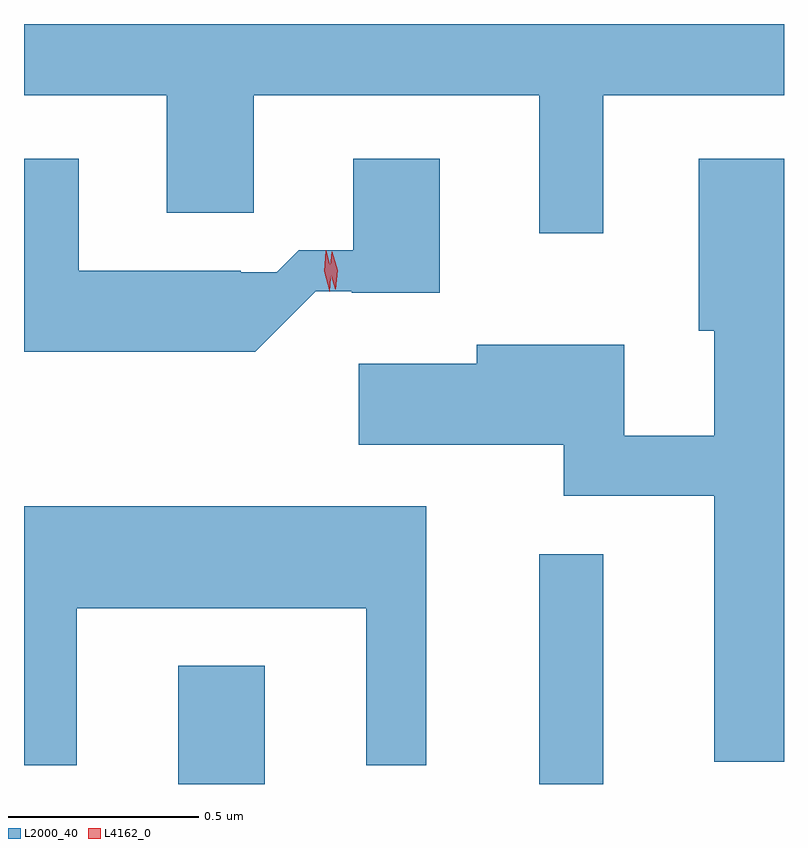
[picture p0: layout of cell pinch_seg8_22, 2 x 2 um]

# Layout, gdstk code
import gdstk
lib = gdstk.Library(unit=1e-6, precision=1e-09)
def R(c, l, rs):  # rectangles x0, y0, x1, y1
    for r in rs: c.add(gdstk.rectangle(r[:2], r[2:], *l))
def P(c, l, *ps):  # polygons
    for p in ps: c.add(gdstk.Polygon(p, *l))
L2000_40 = (2000, 40)
L4162_0 = (4162, 0)

pinch_seg8_22 = lib.new_cell('pinch_seg8_22')
R(pinch_seg8_22, L2000_40, [(1077.161,1883.443,1077.389,1883.754), (1078.111,1883.443,1078.279,1884.048)])
P(pinch_seg8_22, L2000_40, [(1078.279,1885.256),(1078.755,1885.256),(1078.755,1885.443),(1076.755,1885.443),(1076.755,1885.256),(1077.131,1885.256),(1077.131,1884.946),(1077.359,1884.946),(1077.359,1885.256),(1078.111,1885.256),(1078.111,1884.893),(1078.279,1884.893)],
  [(1078.755,1885.089),(1078.531,1885.089),(1078.531,1884.636),(1078.571,1884.636),(1078.571,1884.359),(1078.334,1884.359),(1078.334,1884.599),(1077.946,1884.599),(1077.946,1884.549),(1077.636,1884.549),(1077.636,1884.336),(1078.176,1884.336),(1078.176,1884.201),(1078.571,1884.201),(1078.571,1883.501),(1078.755,1883.501)],
  [(1077.523,1884.74),(1077.617,1884.74),(1077.617,1884.736),(1077.849,1884.736),(1077.849,1885.089),(1077.621,1885.089),(1077.621,1884.848),(1077.478,1884.848),(1077.42,1884.79),(1077.325,1884.79),(1077.325,1884.794),(1076.899,1884.794),(1076.899,1885.089),(1076.755,1885.089),(1076.755,1884.581),(1077.364,1884.581)],
  [(1076.894,1883.906),(1077.656,1883.906),(1077.656,1883.493),(1077.814,1883.493),(1077.814,1884.174),(1076.755,1884.174),(1076.755,1883.493),(1076.894,1883.493)])
P(pinch_seg8_22, L4162_0, [(1077.56,1884.738),(1077.56,1884.739),(1077.545,1884.792),(1077.549,1884.847),(1077.549,1884.848),(1077.55,1884.847),(1077.564,1884.794),(1077.56,1884.739)],
  [(1077.574,1884.745),(1077.56,1884.794),(1077.565,1884.844),(1077.565,1884.844),(1077.566,1884.844),(1077.58,1884.795),(1077.575,1884.745),(1077.575,1884.745)])

lib.write_gds('pinch_seg8_22.gds')
